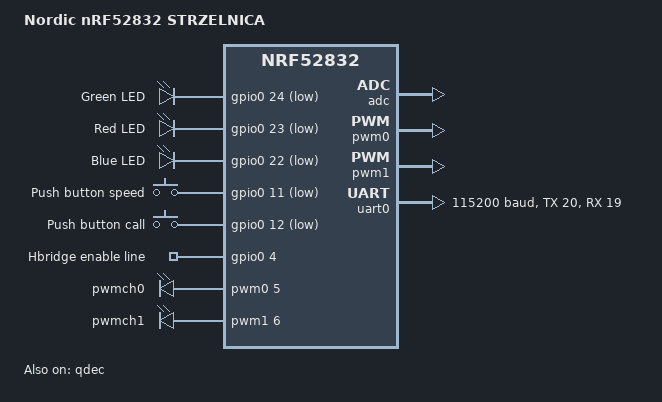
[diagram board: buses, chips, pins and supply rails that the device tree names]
/*
 * Copyright (c) 2020 Jakub Rzeszutko <jakub@rzeszutko.eu>
 *
 * SPDX-License-Identifier: Apache-2.0
 */

/dts-v1/;
#include <nordic/nrf52832_qfaa.dtsi>

/ {
	model = "Nordic nRF52832 STRZELNICA";
	compatible = "nordic,nrf52832-strzelnica";

	chosen {
		zephyr,console = &uart0;
		zephyr,shell-uart = &uart0;
		zephyr,uart-mcumgr = &uart0;
		zephyr,bt-mon-uart = &uart0;
		zephyr,bt-c2h-uart = &uart0;
		zephyr,sram = &sram0;
		zephyr,flash = &flash0;
		zephyr,code-partition = &slot0_partition;
	};

	leds {
		compatible = "gpio-leds";
		led0: led_0 {
			gpios = <&gpio0 24 GPIO_ACTIVE_LOW>;
			label = "Green LED";
		};
		led1: led_1 {
			gpios = <&gpio0 23 GPIO_ACTIVE_LOW>;
			label = "Red LED";
		};
		led2: led_2 {
			gpios = <&gpio0 22 GPIO_ACTIVE_LOW>;
			label = "Blue LED";
		};
	};

	buttons {
		compatible = "gpio-keys";
		button0: button_0 {
			gpios = <&gpio0 11 (GPIO_ACTIVE_LOW)>;
			label = "Push button speed";
		};
		button1: button_1 {
			gpios = <&gpio0 12 (GPIO_ACTIVE_LOW)>;
			label = "Push button call";
		};
	};

	hbridge {
		compatible = "gpio-keys";
		hbridgeen: hbridge_en {
			gpios = <&gpio0 4 (GPIO_PULL_UP | GPIO_ACTIVE_HIGH)>;
			label = "Hbridge enable line";
		};
	};

        pwmmotor {
                compatible = "pwm-leds";
                pwmch0: pwm_ch0 {
                        pwms = <&pwm0 5>;
                };
                pwmch1: pwm_ch1 {
                        pwms = <&pwm1 6>;
                };
        };

	/* These aliases are provided for compatibility with samples */
	aliases {
		led0 = &led0;
		led-green = &led0;
		led-red = &led1;
		led-blue = &led2;
		sw-speed = &button0;
		sw-call = &button1;
		hbridge-en = &hbridgeen;
		pwm-ch0 = &pwmch0;
		pwm-ch1 = &pwmch1;
	};
};

&adc {
	status = "okay";
};

&gpiote {
	status = "okay";
};

&gpio0 {
	status = "okay";
};

&pwm0 {
	status = "okay";
	ch0-pin = <5>;
};

&pwm1 {
	status = "okay";
	ch0-pin = <6>;
};

&uart0 {
	status = "okay";
	compatible = "nordic,nrf-uart";
	current-speed = <115200>;
	rx-pin = <19>;
	tx-pin = <20>;
};

&qdec {
	status = "okay";
	a-pin = <16>;
	b-pin = <17>;
	led-pre = <1>;
	steps = <16>;
};

&flash0 {
	/*
	 * For more information, see:
	 * https://docs.zephyrproject.org/latest/guides/dts/legacy-macros.html#legacy-flash-partitions
	 */
	partitions {
		compatible = "fixed-partitions";
		#address-cells = <1>;
		#size-cells = <1>;

		boot_partition: partition@0 {
			label = "mcuboot";
			reg = <0x00000000 0xc000>;
		};
		slot0_partition: partition@c000 {
			label = "image-0";
			reg = <0x0000C000 0x32000>;
		};
		slot1_partition: partition@3e000 {
			label = "image-1";
			reg = <0x0003E000 0x32000>;
		};
		scratch_partition: partition@70000 {
			label = "image-scratch";
			reg = <0x00070000 0xa000>;
		};
		storage_partition: partition@7a000 {
			label = "storage";
			reg = <0x0007a000 0x00006000>;
		};
	};
};
